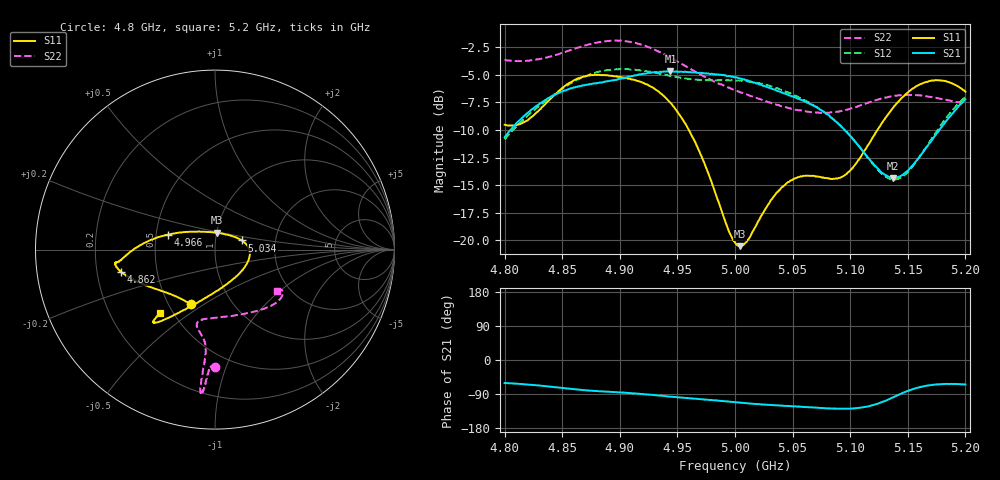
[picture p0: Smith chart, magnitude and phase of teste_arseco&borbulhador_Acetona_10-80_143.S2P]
! Network Analyzer HP8722D
! Hewlett-Packard
! Data name: Linha & Wilkinson
! Saver's name: Rodrigo Anjos
! Comments: Teste da utilização de aquisição
! continua pelo VNA HP8722D
! Time and date: 17/4/2025 15:33
!  Frequency  S11  S21  S12  S22
# HZ  S  MA R 50
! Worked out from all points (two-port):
!   401 points, 4.8 GHz to 5.2 GHz, reference 50 ohm
!   highest |S21| = -4.68 dB at 4.944 GHz (marker M1); lowest = -14.4 dB at 5.137 GHz (marker M2)
!   |S21| within 3 dB of the highest: 4.83 GHz to 5.066 GHz (236.3 MHz wide, 4.78 % of centre); 5.195717 GHz to end of sweep
!   lowest |S11| = -20.5 dB at 5.004 GHz (marker M3), VSWR 1.21, Z = 50.1 + j9.45 ohm
!   |S11| at or under -10 dB: 4.96 GHz to 5.124 GHz (163.7 MHz wide, 3.25 % of centre)
!   |S22| runs from -8.5 to -1.9 dB; largest |S21 - S12| = 0.87
!   S11 on the Smith chart (normalised r, x): 4.8 GHz: 0.64, -0.44; 4.862 GHz: 0.31, -0.11; 4.966 GHz: 0.58, +0.10; 5.034 GHz: 1.35, +0.14; 5.2 GHz: 0.42, -0.39
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4.8e9  0.3339 -114.0  0.2928 -60.9  0.2868 -175.2  0.6557 -90.2
4.819e9  0.3482 -133.9  0.3743 -64.4  0.362 -174.0  0.6507 -91.8
4.862e9  0.5365 -166.4  0.496 -77.4  0.5302 -177.3  0.7424 -94.0
4.867e9  0.548 -168.3  0.5013 -79.1  0.5457 -178.2  0.7562 -94.2
4.902e9  0.5466 -172.7  0.5411 -85.8  0.5967 174.9  0.8015 -95.7
4.934e9  0.4706 -178.7  0.5779 -93.8  0.5703 171.6  0.715 -96.0
4.944e9  0.4194 176.9  0.5833 -96.7  0.5563 171.7  0.6732 -95.7
4.966e9  0.2742 162.3  0.576 -102.3  0.5345 173.6  0.5783 -95.1
5e9  0.0979 98.6  0.5472 -111.4  0.5297 175.9  0.4784 -99.2
5.004e9  0.09406 84.2  0.5422 -112.4  0.5293 175.8  0.4708 -100.1
5.012e9  0.1017 57.4  0.5268 -114.6  0.5236 175.7  0.4544 -101.9
5.034e9  0.1589 18.6  0.4821 -119.3  0.494 174.7  0.4147 -103.4
5.05e9  0.1881 2.5  0.4488 -122.0  0.4583 173.8  0.3941 -99.5
5.067e9  0.1959 -15.8  0.4113 -125.1  0.4132 173.6  0.3803 -90.4
5.096e9  0.1985 -66.4  0.3128 -128.6  0.3124 174.6  0.3897 -67.8
5.122e9  0.3067 -107.6  0.2165 -117.0  0.2145 -171.9  0.4308 -49.3
5.134e9  0.3787 -117.4  0.1933 -103.0  0.1902 -156.1  0.4475 -43.0
5.137e9  0.397 -119.2  0.1915 -98.8  0.1888 -151.2  0.4501 -41.7
5.15e9  0.4673 -124.9  0.2068 -81.7  0.2036 -131.5  0.4557 -36.8
5.17e9  0.5285 -129.5  0.28 -66.1  0.285 -112.3  0.4463 -32.2
5.184e9  0.5235 -130.7  0.3511 -63.0  0.3622 -107.5  0.4324 -31.2
5.2e9  0.4712 -131.0  0.4352 -64.7  0.4472 -106.8  0.4149 -33.5
